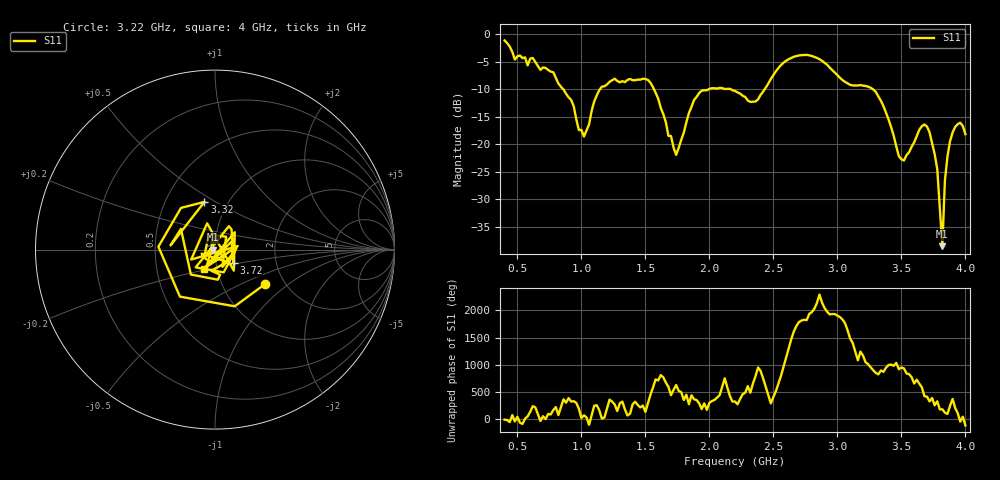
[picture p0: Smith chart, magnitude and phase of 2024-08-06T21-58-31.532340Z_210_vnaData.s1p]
!Created with skrf (http://scikit-rf.org).
# Hz S RI R 50.0
!freq ReS11 ImS11
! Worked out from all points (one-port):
!   181 points, 400 MHz to 4 GHz, reference 50 ohm
!   lowest |S11| = -38.5 dB at 3.82 GHz (marker M1), VSWR 1.02, Z = 48.8 + j0.0454 ohm
!   |S11| at or under -10 dB: 859.3 MHz to 1.144 GHz (285.1 MHz wide, 28.5 % of centre); 1.567 GHz to 1.993 GHz (425.3 MHz wide, 23.9 % of centre); 3.279 GHz to end of sweep (the widest 3 of 4)
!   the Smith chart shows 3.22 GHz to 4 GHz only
!   S11 on the Smith chart (normalised r, x): 3.22 GHz: 1.60, -0.69; 3.32 GHz: 0.78, +0.45; 3.72 GHz: 1.22, -0.19; 4 GHz: 0.86, -0.19
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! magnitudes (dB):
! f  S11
! 400 MHz  -1.1
! 480 MHz  -4.6
! 620 MHz  -4.3
! 860 MHz  -10.0
! 1.02 GHz  -18.6
! 1.14 GHz  -10.1
! 1.3 GHz  -8.7
! 1.52 GHz  -8.3
! 1.74 GHz  -21.9
! 1.76 GHz  -20.6
! 1.92 GHz  -10.7
! 2.2 GHz  -10.3
! 2.36 GHz  -12.2
! 2.66 GHz  -4.1
! 2.86 GHz  -4.5
! 3.1 GHz  -9.2
! 3.22 GHz  -9.4
! 3.32 GHz  -11.3
! 3.48 GHz  -22.1
! 3.56 GHz  -21.4
! 3.66 GHz  -16.7
! 3.72 GHz  -17.8
! 3.78 GHz  -24.5
! 3.82 GHz  -38.5
! 3.84 GHz  -26.5
! 3.88 GHz  -19.4
! 3.96 GHz  -16.1
! 4 GHz  -18.1
